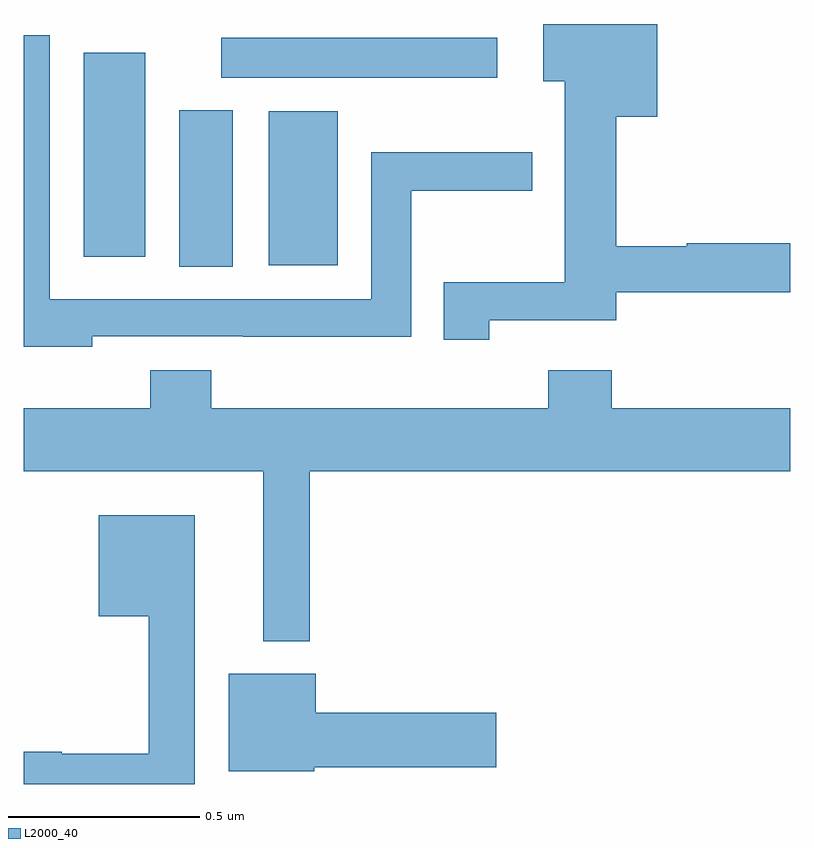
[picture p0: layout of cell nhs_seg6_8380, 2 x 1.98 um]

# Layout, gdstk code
import gdstk
lib = gdstk.Library(unit=1e-6, precision=1e-09)
def R(c, l, rs):  # rectangles x0, y0, x1, y1
    for r in rs: c.add(gdstk.rectangle(r[:2], r[2:], *l))
def P(c, l, *ps):  # polygons
    for p in ps: c.add(gdstk.Polygon(p, *l))
L2000_40 = (2000, 40)

nhs_seg6_8380 = lib.new_cell('nhs_seg6_8380')
R(nhs_seg6_8380, L2000_40, [(220.406,967.849,220.546,968.257), (220.64,967.853,220.819,968.254), (220.157,967.875,220.318,968.407), (220.515,968.342,221.236,968.446)])
P(nhs_seg6_8380, L2000_40, [(221.214,967.709),(221.546,967.709),(221.546,967.782),(222,967.782),(222,967.91),(221.729,967.91),(221.729,967.903),(221.546,967.903),(221.546,968.24),(221.653,968.24),(221.653,968.482),(221.355,968.482),(221.355,968.333),(221.411,968.333),(221.411,967.809),(221.096,967.809),(221.096,967.659),(221.214,967.659)],
  [(220.179,967.668),(220.573,967.668),(220.573,967.667),(221.011,967.667),(221.011,968.047),(221.326,968.047),(221.326,968.147),(220.907,968.147),(220.907,967.764),(220.068,967.764),(220.068,968.453),(220,968.453),(220,967.64),(220.179,967.64)],
  [(220.747,967.316),(222,967.316),(222,967.48),(221.534,967.48),(221.534,967.579),(221.369,967.579),(221.369,967.48),(220.49,967.48),(220.49,967.579),(220.33,967.579),(220.33,967.48),(220,967.48),(220,967.316),(220.625,967.316),(220.625,966.872),(220.747,966.872)],
  [(220.447,967.201),(220.196,967.201),(220.196,966.938),(220.326,966.938),(220.326,966.579),(220.099,966.579),(220.099,966.584),(220,966.584),(220,966.5),(220.447,966.5)],
  [(220.758,966.544),(221.233,966.544),(221.233,966.686),(220.762,966.686),(220.762,966.787),(220.535,966.787),(220.535,966.533),(220.758,966.533)])

lib.write_gds('nhs_seg6_8380.gds')
